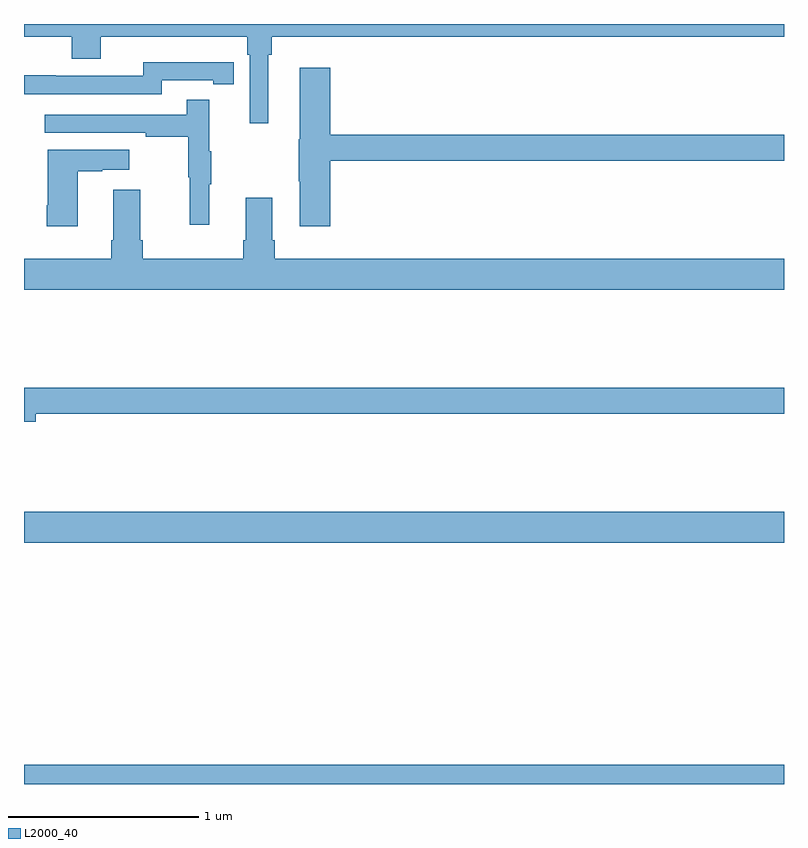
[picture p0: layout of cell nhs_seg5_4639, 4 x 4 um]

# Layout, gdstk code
import gdstk
lib = gdstk.Library(unit=1e-6, precision=1e-09)
def R(c, l, rs):  # rectangles x0, y0, x1, y1
    for r in rs: c.add(gdstk.rectangle(r[:2], r[2:], *l))
def P(c, l, *ps):  # polygons
    for p in ps: c.add(gdstk.Polygon(p, *l))
L2000_40 = (2000, 40)

nhs_seg5_4639 = lib.new_cell('nhs_seg5_4639')
R(nhs_seg5_4639, L2000_40, [(383,880.799,387,880.9), (383,882.068,387,882.232)])
P(nhs_seg5_4639, L2000_40, [(384.286,884.636),(384.305,884.636),(384.305,884.732),(387,884.732),(387,884.799),(383,884.799),(383,884.732),(383.252,884.732),(383.252,884.615),(383.404,884.615),(383.404,884.732),(384.176,884.732),(384.176,884.636),(384.189,884.636),(384.189,884.277),(384.286,884.277)],
  [(383.724,884.502),(383.996,884.502),(383.996,884.482),(384.104,884.482),(384.104,884.598),(383.996,884.598),(383.996,884.599),(383.628,884.599),(383.628,884.526),(383.168,884.526),(383.168,884.528),(383,884.528),(383,884.43),(383.724,884.43)],
  [(384.611,884.08),(387,884.08),(387,884.216),(384.611,884.216),(384.611,884.569),(384.452,884.569),(384.452,884.193),(384.445,884.193),(384.445,883.972),(384.452,883.972),(384.452,883.734),(384.611,883.734)],
  [(383.975,883.955),(383.986,883.955),(383.986,884.129),(383.975,884.129),(383.975,884.401),(383.857,884.401),(383.857,884.322),(383.109,884.322),(383.109,884.226),(383.641,884.226),(383.641,884.206),(383.865,884.206),(383.865,883.992),(383.872,883.992),(383.872,883.743),(383.975,883.743)],
  [(383.284,884.023),(383.411,884.023),(383.411,884.033),(383.554,884.033),(383.554,884.137),(383.126,884.137),(383.126,883.846),(383.119,883.846),(383.119,883.734),(383.284,883.734)],
  [(387,883.564),(384.32,883.564),(384.32,883.66),(384.307,883.66),(384.307,883.885),(384.167,883.885),(384.167,883.66),(384.155,883.66),(384.155,883.564),(383.624,883.564),(383.624,883.66),(383.611,883.66),(383.611,883.927),(383.471,883.927),(383.471,883.66),(383.459,883.66),(383.459,883.564),(383,883.564),(383,883.4),(387,883.4)],
  [(383.062,882.748),(387,882.748),(387,882.884),(383,882.884),(383,882.706),(383.062,882.706)])

lib.write_gds('nhs_seg5_4639.gds')
